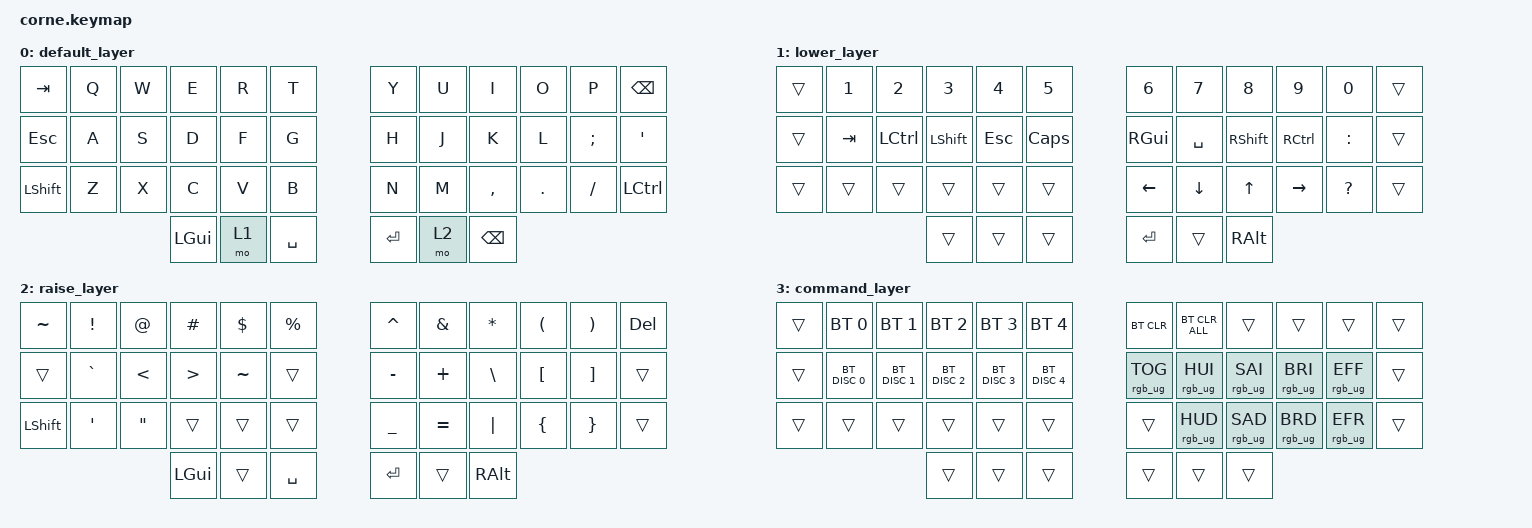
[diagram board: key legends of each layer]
/*
 * Corne 3x6 Keymap — Himanshu
 * Based on old 3x5 simple layout, expanded to 3x6 with extra side keys.
 * No home row mods. No tap-hold on thumbs. Simple and predictable.
 */

#include <behaviors.dtsi>
#include <dt-bindings/zmk/keys.h>
#include <dt-bindings/zmk/bt.h>
#include <dt-bindings/zmk/rgb.h>
#include <dt-bindings/zmk/ext_power.h>

/ {
    combos {
        compatible = "zmk,combos";
        combo_bt {
            require-prior-idle-ms = <1000>;
            timeout-ms = <50>;
            key-positions = <37 40>;
            bindings = <&mo 3>;
        };
    };
};

/ {
    keymap {
        compatible = "zmk,keymap";

        default_layer {
// -------------------------------------------------------------------------
// | TAB |  Q  |  W  |  E  |  R  |  T  |   |  Y  |  U  |  I  |  O  |  P  | BSPC |
// | ESC |  A  |  S  |  D  |  F  |  G  |   |  H  |  J  |  K  |  L  |  ;  |  '   |
// | SHFT|  Z  |  X  |  C  |  V  |  B  |   |  N  |  M  |  ,  |  .  |  /  | CTRL |
//                   | GUI | LWR | SPC |   | ENT | RSE | BSPC|
            bindings = <
   &kp TAB   &kp Q &kp W &kp E    &kp R &kp T       &kp Y   &kp U  &kp I     &kp O   &kp P    &kp BSPC
   &kp ESC   &kp A &kp S &kp D    &kp F &kp G       &kp H   &kp J  &kp K     &kp L   &kp SEMI &kp SQT
   &kp LSHFT &kp Z &kp X &kp C    &kp V &kp B       &kp N   &kp M  &kp COMMA &kp DOT &kp FSLH &kp LCTRL
                         &kp LGUI &mo 1 &kp SPACE   &kp RET &mo 2  &kp BSPC
            >;
        };

        lower_layer {
// -------------------------------------------------------------------------
// |     |  1  |  2  |  3  |  4  |  5  |   |  6  |  7  |  8  |  9  |  0  |      |
// |     | TAB | CTRL| SHFT| ESC | CAPS|   | GUI | SPC | SHFT| CTRL|  :  |      |
// |     |     |     |     |     |     |   | LFT | DWN |  UP | RGT |  ?  |      |
//                   |     |     |     |   | ENT |     | ALT |
            bindings = <
   &trans &kp N1    &kp N2    &kp N3    &kp N4   &kp N5    &kp N6   &kp N7    &kp N8    &kp N9    &kp N0    &trans
   &trans &kp TAB   &kp LCTRL &kp LSHFT &kp ESC  &kp CLCK  &kp RGUI &kp SPACE &kp RSHFT &kp RCTRL &kp COLON &trans
   &trans &trans    &trans    &trans    &trans   &trans    &kp LEFT &kp DOWN  &kp UP    &kp RIGHT &kp QMARK &trans
                              &trans    &trans   &trans    &kp RET  &trans    &kp RALT
            >;
        };

        raise_layer {
// -------------------------------------------------------------------------
// |  ~  |  !  |  @  |  #  |  $  |  %  |   |  ^  |  &  |  *  |  (  |  )  | DEL  |
// |     |  `  |  <  |  >  |  ~  |     |   |  -  |  +  |  \  |  [  |  ]  |      |
// | SHFT|  '  |  "  |     |     |     |   |  _  |  =  |  |  |  {  |  }  |      |
//                   | GUI |     | SPC |   | ENT |     | ALT |
            bindings = <
   &kp TILDE &kp EXCL  &kp AT  &kp HASH &kp DLLR  &kp PRCNT   &kp CARET &kp AMPS  &kp ASTRK &kp LPAR &kp RPAR &kp DEL
   &trans    &kp GRAVE &kp LT  &kp GT   &kp TILDE &trans      &kp MINUS &kp PLUS  &kp BSLH  &kp LBKT &kp RBKT &trans
   &kp LSHFT &kp SQT   &kp DQT &trans   &trans    &trans      &kp UNDER &kp EQUAL &kp PIPE  &kp LBRC &kp RBRC &trans
                                &kp LGUI &trans    &kp SPACE   &kp RET   &trans    &kp RALT
            >;
        };

        command_layer {
// -------------------------------------------------------------------------
// |     | BT1 | BT2 | BT3 | BT4 | BT5 |   | CLR | CLRA|     |     |     | EPWR |
// |     | DC1 | DC2 | DC3 | DC4 | DC5 |   | RTOG| HUE+| SAT+| BRT+| EFF+|      |
// |     |     |     |     |     |     |   |     | HUE-| SAT-| BRT-| EFF-|      |
//                   |     |     |     |   |     |     |     |
            bindings = <
   &trans &bt BT_SEL 0  &bt BT_SEL 1  &bt BT_SEL 2  &bt BT_SEL 3  &bt BT_SEL 4  &bt BT_CLR      &bt BT_CLR_ALL  &trans          &trans          &trans          &trans
   &trans &bt BT_DISC 0 &bt BT_DISC 1 &bt BT_DISC 2 &bt BT_DISC 3 &bt BT_DISC 4 &rgb_ug RGB_TOG &rgb_ug RGB_HUI &rgb_ug RGB_SAI &rgb_ug RGB_BRI &rgb_ug RGB_EFF &trans
   &trans &trans        &trans        &trans        &trans        &trans        &trans          &rgb_ug RGB_HUD &rgb_ug RGB_SAD &rgb_ug RGB_BRD &rgb_ug RGB_EFR &trans
                                      &trans        &trans        &trans        &trans          &trans          &trans
            >;
        };
    };
};
